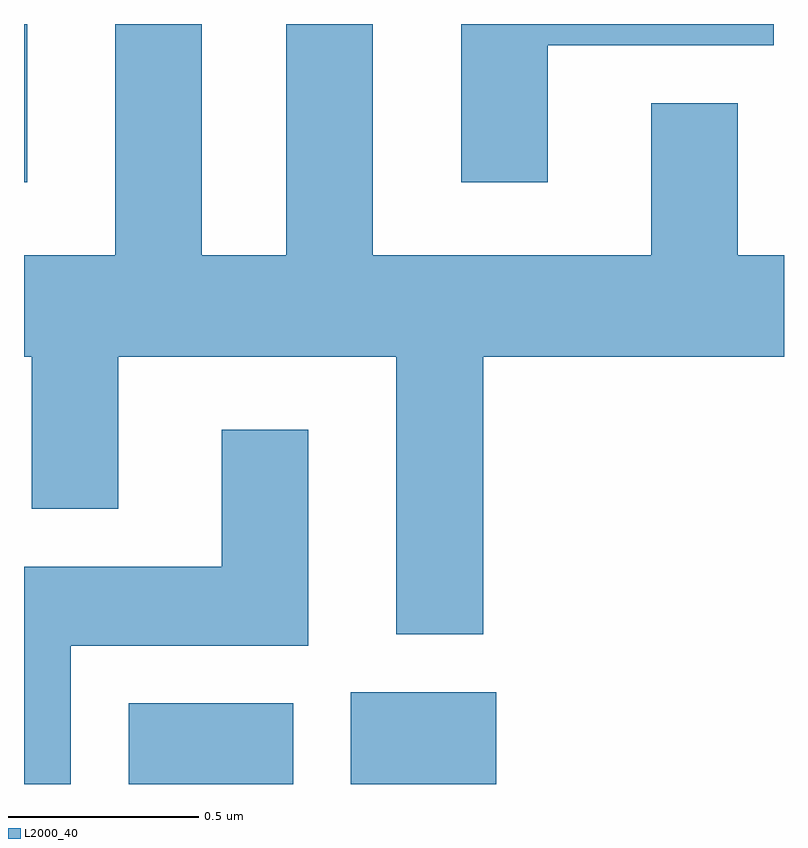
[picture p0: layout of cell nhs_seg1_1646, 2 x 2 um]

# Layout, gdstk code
import gdstk
lib = gdstk.Library(unit=1e-6, precision=1e-09)
def R(c, l, rs):  # rectangles x0, y0, x1, y1
    for r in rs: c.add(gdstk.rectangle(r[:2], r[2:], *l))
def P(c, l, *ps):  # polygons
    for p in ps: c.add(gdstk.Polygon(p, *l))
L2000_40 = (2000, 40)

nhs_seg1_1646 = lib.new_cell('nhs_seg1_1646')
R(nhs_seg1_1646, L2000_40, [(197.886,860.712,198.319,860.924), (198.471,860.712,198.854,860.954), (197.611,862.296,197.619,862.712)])
P(nhs_seg1_1646, L2000_40, [(198.819,861.836),(199.611,861.836),(199.611,862.104),(199.489,862.104),(199.489,862.504),(199.261,862.504),(199.261,862.104),(198.529,862.104),(198.529,862.712),(198.301,862.712),(198.301,862.104),(198.079,862.104),(198.079,862.712),(197.851,862.712),(197.851,862.104),(197.611,862.104),(197.611,861.836),(197.631,861.836),(197.631,861.436),(197.859,861.436),(197.859,861.836),(198.591,861.836),(198.591,861.106),(198.819,861.106)],
  [(198.989,862.656),(199.584,862.656),(199.584,862.712),(198.761,862.712),(198.761,862.296),(198.989,862.296)],
  [(197.734,861.076),(198.359,861.076),(198.359,861.644),(198.131,861.644),(198.131,861.284),(197.611,861.284),(197.611,860.712),(197.734,860.712)])

lib.write_gds('nhs_seg1_1646.gds')
